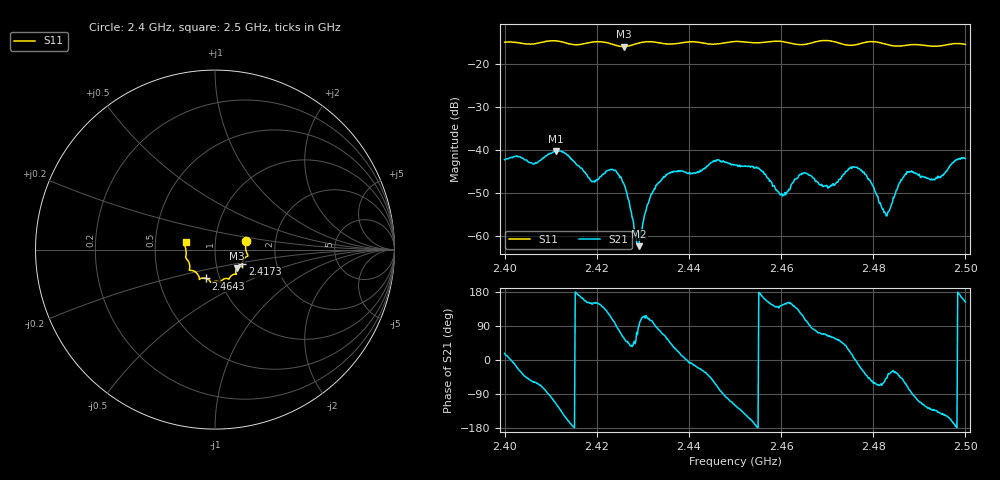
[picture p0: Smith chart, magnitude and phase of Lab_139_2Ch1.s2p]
# Hz S RI R 50
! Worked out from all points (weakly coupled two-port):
!   601 points, 2.4 GHz to 2.5 GHz, reference 50 ohm
!   highest |S21| = -40.21 dB at 2.4112 GHz (marker M1); lowest = -62.4 dB at 2.4292 GHz (marker M2)
!   lowest |S11| = -15.9 dB at 2.4258 GHz (marker M3), VSWR 1.38, Z = 62.3 - j13.2 ohm
!   |S11| at or under -10 dB: start of sweep to end of sweep
!   S12 and S22 are empty: the file has one direction only
!   S11 on the Smith chart (normalised r, x): 2.4 GHz: 1.41, +0.14; 2.4173 GHz: 1.34, -0.23; 2.4643 GHz: 0.86, -0.28; 2.5 GHz: 0.72, +0.06
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2.4e9  0.1733 0.049  0.00736 0.00231  0 0  0 0
2.411167e9  0.1829 -0.0354  -0.00421 -0.00882  0 0  0 0
2.416667e9  0.1527 -0.0744  -0.00594 0.00172  0 0  0 0
2.417333e9  0.1521 -0.0818  -0.00504 0.00224  0 0  0 0
2.419333e9  0.1536 -0.0959  -0.00377 0.00211  0 0  0 0
2.423667e9  0.1396 -0.094  -0.00122 0.00572  0 0  0 0
2.425833e9  0.1216 -0.1036  0.00209 0.00354  0 0  0 0
2.429167e9  0.116 -0.1322  3.19e-06 0.000761  0 0  0 0
2.431333e9  0.119 -0.1384  -0.000857 0.00239  0 0  0 0
2.433333e9  0.113 -0.137  0.000663 0.00409  0 0  0 0
2.445833e9  0.049 -0.1639  0.00319 -0.00665  0 0  0 0
2.45e9  0.0294 -0.1809  -0.00333 -0.00582  0 0  0 0
2.455167e9  0.000331 -0.177  -0.00617 0.000178  0 0  0 0
2.460167e9  -0.0239 -0.1817  -0.0025 0.00183  0 0  0 0
2.464333e9  -0.0499 -0.1605  -0.00275 0.00438  0 0  0 0
2.466667e9  -0.0758 -0.1596  0.000482 0.0049  0 0  0 0
2.4705e9  -0.0873 -0.1651  0.00168 0.00326  0 0  0 0
2.4765e9  -0.1216 -0.1176  0.00629 -0.000751  0 0  0 0
2.483333e9  -0.1408 -0.0899  0.00156 -0.00113  0 0  0 0
2.487333e9  -0.1569 -0.0543  0.002 -0.00525  0 0  0 0
2.493e9  -0.1607 -0.0138  -0.0031 -0.00336  0 0  0 0
2.5e9  -0.1641 0.0423  -0.00708 0.00359  0 0  0 0
